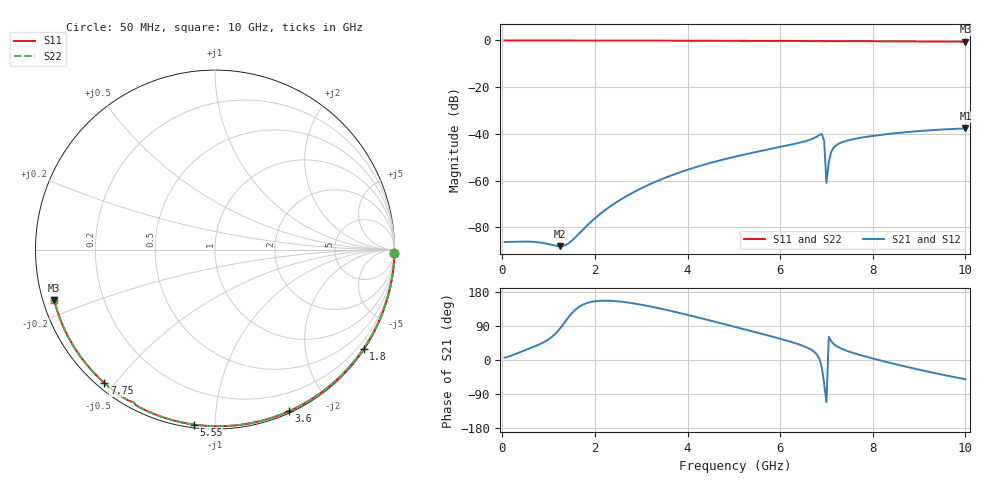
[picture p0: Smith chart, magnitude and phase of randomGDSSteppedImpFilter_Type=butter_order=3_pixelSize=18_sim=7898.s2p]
! freq	dB(S11)	phase(S11)	dB(S12)	phase(S12)
!  dB(S21)	phase(S21)	dB(S22)	phase(S22)
!S-par simulation data
#  GHz  S  DB  R 50
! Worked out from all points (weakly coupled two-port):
!   200 points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, 50 MHz to 10 GHz, reference 50 ohm
!   highest |S21| = -37.61 dB at 10 GHz (marker M1); lowest = -88.0 dB at 1.25 GHz (marker M2)
!   lowest |S11| = -0.5 dB at 10 GHz (marker M3), VSWR 31.81, Z = 1.61 - j7.69 ohm
!   |S11| at or under -10 dB: nowhere
!   |S22| runs from -0.5 to 0.0 dB; largest |S21 - S12| = 0
!   S11 on the Smith chart (normalised r, x): 50 MHz: open; 1.8 GHz: 0.03, -3.30; 3.6 GHz: 0.02, -1.56; 5.55 GHz: 0.02, -0.89; 7.75 GHz: 0.02, -0.47; 10 GHz: 0.03, -0.15
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0.05  -0.00 -1.0  -86.20 6.3  -86.20 6.3  -0.00 -1.0
1.25  -0.03 -23.6  -87.99 83.6  -87.99 83.6  -0.03 -23.6
1.75  -0.04 -32.8  -80.76 146.5  -80.76 146.5  -0.04 -32.8
1.8  -0.04 -33.7  -79.77 149.1  -79.77 149.1  -0.04 -33.7
2.15  -0.05 -40.0  -73.64 156.5  -73.64 156.5  -0.05 -40.0
2.5  -0.06 -46.3  -68.76 154.8  -68.76 154.8  -0.06 -46.3
3.4  -0.08 -62.0  -59.66 136.1  -59.66 136.1  -0.08 -62.0
3.6  -0.09 -65.4  -58.09 130.7  -58.09 130.7  -0.09 -65.4
4.25  -0.11 -76.2  -53.76 111.5  -53.76 111.5  -0.11 -76.2
5.05  -0.14 -89.1  -49.59 86.6  -49.59 86.6  -0.14 -89.1
5.55  -0.16 -97.0  -47.39 70.8  -47.39 70.8  -0.16 -97.0
6.7  -0.22 -114.5  -42.04 25.0  -42.04 25.0  -0.22 -114.5
6.9  -0.28 -117.7  -39.99 -19.5  -39.99 -19.5  -0.28 -117.7
6.95  -0.33 -118.2  -43.01 -62.6  -43.01 -62.6  -0.33 -118.2
7  -0.31 -118.6  -60.89 -111.4  -60.89 -111.4  -0.31 -118.6
7.05  -0.28 -119.3  -52.11 61.3  -52.11 61.3  -0.28 -119.3
7.1  -0.27 -120.1  -47.74 49.6  -47.74 49.6  -0.27 -120.1
7.15  -0.27 -120.8  -45.98 42.7  -45.98 42.7  -0.27 -120.8
7.35  -0.27 -123.8  -43.43 28.4  -43.43 28.4  -0.27 -123.8
7.75  -0.30 -129.7  -41.59 12.3  -41.59 12.3  -0.30 -129.7
8.35  -0.36 -138.4  -39.97 -6.9  -39.97 -6.9  -0.36 -138.4
10  -0.55 -162.5  -37.61 -50.7  -37.61 -50.7  -0.55 -162.5
